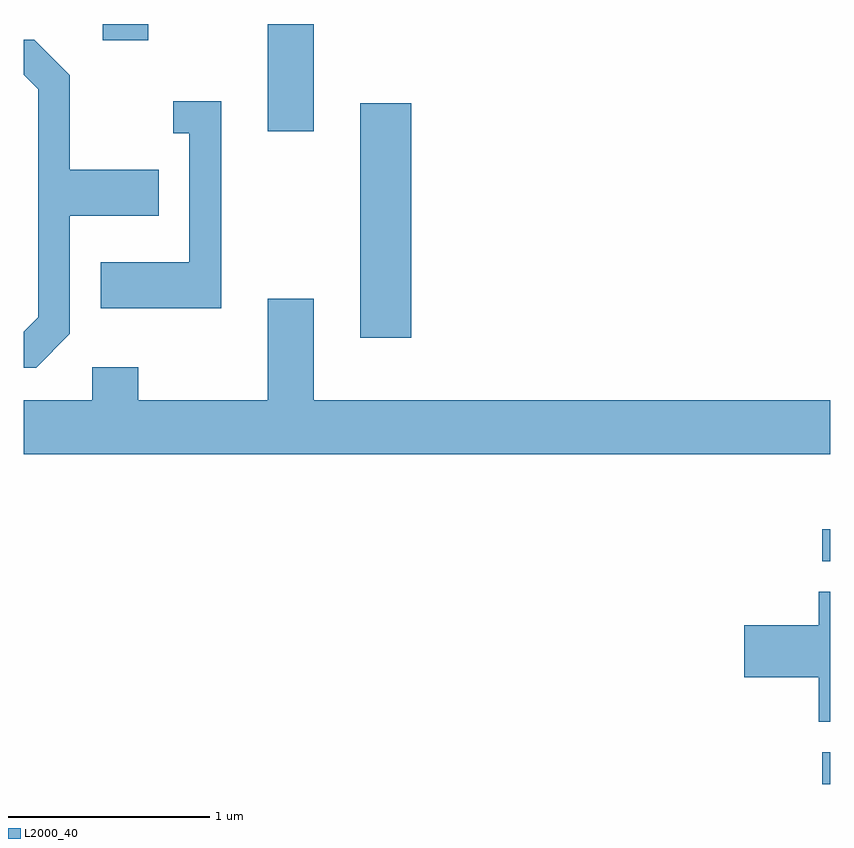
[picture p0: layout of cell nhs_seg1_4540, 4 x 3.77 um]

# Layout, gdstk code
import gdstk
lib = gdstk.Library(unit=1e-6, precision=1e-09)
def R(c, l, rs):  # rectangles x0, y0, x1, y1
    for r in rs: c.add(gdstk.rectangle(r[:2], r[2:], *l))
def P(c, l, *ps):  # polygons
    for p in ps: c.add(gdstk.Polygon(p, *l))
L2000_40 = (2000, 40)

nhs_seg1_4540 = lib.new_cell('nhs_seg1_4540')
R(nhs_seg1_4540, L2000_40, [(325.573,897.941,325.611,898.099), (325.573,899.046,325.611,899.204), (323.281,900.156,323.534,901.319), (322.821,901.181,323.049,901.712), (322.001,901.631,322.229,901.712)])
P(nhs_seg1_4540, L2000_40, [(321.839,900.174),(321.839,900.761),(322.279,900.761),(322.279,900.989),(321.839,900.989),(321.839,901.457),(321.662,901.634),(321.611,901.634),(321.611,901.459),(321.681,901.389),(321.681,900.257),(321.611,900.186),(321.611,900.006),(321.672,900.006)],
  [(322.589,901.329),(322.353,901.329),(322.353,901.171),(322.431,901.171),(322.431,900.529),(321.991,900.529),(321.991,900.301),(322.589,900.301)],
  [(325.611,899.844),(323.049,899.844),(323.049,900.349),(322.821,900.349),(322.821,899.844),(322.179,899.844),(322.179,900.009),(321.951,900.009),(321.951,899.844),(321.611,899.844),(321.611,899.576),(325.611,899.576)],
  [(325.611,898.894),(325.556,898.894),(325.556,898.729),(325.186,898.729),(325.186,898.471),(325.556,898.471),(325.556,898.251),(325.611,898.251)])

lib.write_gds('nhs_seg1_4540.gds')
